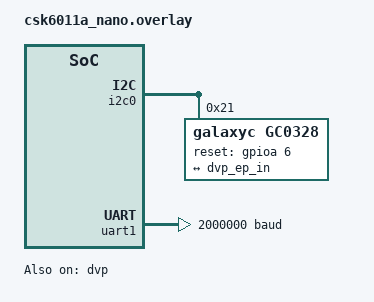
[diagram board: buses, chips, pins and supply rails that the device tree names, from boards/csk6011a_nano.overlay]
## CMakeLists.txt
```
# SPDX-License-Identifier: Apache-2.0

cmake_minimum_required(VERSION 3.20.0)

set(SUPPORT_BOARDS csk6012_nano csk6011a_nano csk6_duomotai_devkit)
if(NOT ${BOARD} IN_LIST SUPPORT_BOARDS)
    message("Please choose one of the following boards:")
    foreach(item ${SUPPORT_BOARDS})
        message(STATUS ${item})
    endforeach()
    message(FATAL_ERROR "\nThe project does not support the ${BOARD}")
endif()

find_package(Zephyr REQUIRED HINTS $ENV{ZEPHYR_BASE})
project(gc0328_dvp)

FILE(GLOB app_sources src/*.c)
target_sources(app PRIVATE ${app_sources})
```

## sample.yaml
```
sample:
  name: dvp_gc0328 Sample
tests:
  csk.samples.driver.video.gc0328:
    platform_allow: csk6011a_nano csk6_duomotai_devkit
    tags: csk6
    build_only: true
```

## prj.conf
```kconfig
# hardware settings
CONFIG_GPIO=y
CONFIG_I2C=y
CONFIG_VIDEO=y
CONFIG_VIDEO_CSK6_DVP=y
CONFIG_VIDEO_GC0328=y

#log settings
CONFIG_LOG=y
CONFIG_LOG_PRINTK=y

#buffer space settings
CONFIG_VIDEO_BUFFER_POOL_SZ_MAX=800000
CONFIG_VIDEO_CUSTOM_SECTION=y
CONFIG_VIDEO_CUSTOM_SECTION_NAME=".psram_section"
CONFIG_CSK6_PSRAM=y
```

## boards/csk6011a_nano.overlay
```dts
/*
 * Copyright (c) 2023 Anhui(Shenzhen) Listenai Co., Ltd.
 *
 * SPDX-License-Identifier: Apache-2.0
 */
/delete-node/ &psram_ap;
/delete-node/ &psram_share;

&psram0 {
	psram_ap: psram_ap@30600000 {
		compatible = "zephyr,memory-region","listenai,csk6-psram-partition";
		reg = <0x30600000 0x1b0000>;
		status = "okay";
		zephyr,memory-region = "PSRAMAP";


	};
	psram_share: psram_share@307b0000 {
		compatible = "listenai,csk6-psram-partition";
		reg = <0x307b0000 0x50000>;
		status = "okay";
	};
};

&csk6011a_nano_pinctrl {
	pinctrl_uart1_tx_default: uart1_tx_default{
		pinctrls = <UART1_TXD_GPIOA_10>;
	};

	pinctrl_i2c0_scl_default: i2c0_scl_default{
		pinctrls = <I2C0_SCL_GPIOB_04>;
	};

	pinctrl_i2c0_sda_default: i2c0_sda_default{
		pinctrls = <I2C0_SDA_GPIOB_03>;
	};

	pinctrl_dvp_clkout_default: dvp_clkout_default{
		pinctrls = <CLKP_OUT_GPIOA_07>;
	};

	pinctrl_dvp_vsync_default: dvp_vsync_default{
		pinctrls = <I_V_SYNC_GPIOA_14>;
	};

	pinctrl_dvp_hsync_default: dvp_hync_default{
		pinctrls = <I_H_SYNC_GPIOA_13>;
	};

	pinctrl_dvp_pclk_default: dvp_pclk_default{
		pinctrls = <I_PIXEL_CLK_GPIOA_12>;
	};

	pinctrl_dvp_d4_default: dvp_d4_default{
		pinctrls = <I_PIXEL_DATA4_GPIOA_04>;
	};

	pinctrl_dvp_d5_default: dvp_d5_default{
		pinctrls = <I_PIXEL_DATA5_GPIOA_05>;
	};

	pinctrl_dvp_d6_default: dvp_d6_default{
		pinctrls = <I_PIXEL_DATA6_GPIOA_06>;
	};

	pinctrl_dvp_d7_default: dvp_d7_default{
		pinctrls = <I_PIXEL_DATA7_GPIOB_07>;
	};


	pinctrl_dvp_d8_default: dvp_d8_default{
		pinctrls = <I_PIXEL_DATA8_GPIOB_08>;
	};


	pinctrl_dvp_d9_default: dvp_d9_default{
		pinctrls = <I_PIXEL_DATA9_GPIOB_09>;
	};


	pinctrl_dvp_d10_default: dvp_d10_default{
		pinctrls = <I_PIXEL_DATA10_GPIOA_08>;
	};


	pinctrl_dvp_d11_default: dvp_d11_default{
		pinctrls = <I_PIXEL_DATA11_GPIOA_09>;
	};
};

&spi0 {
	status = "disabled";
};

&spi1 {
	status = "disabled";
};

&i2c0 {
	status = "okay";
	pinctrl-0 = <&pinctrl_i2c0_scl_default &pinctrl_i2c0_sda_default>;
	pinctrl-names = "default";

	gc0328: gc0328@21 {
		compatible = "galaxyc,gc0328";
		status = "okay";
		reg = <0x21>;
		reset-gpios = <&gpioa 6 0>;

		port {
			gc0328_ep_out: endpoint {
				remote-endpoint = <&dvp_ep_in>;
			};
		};
	};

};

&uart1 {
	pinctrl-0 = <&pinctrl_uart1_tx_default>;
	pinctrl-names = "default";
	current-speed = <2000000>;
	status = "okay";
};

&dvp {
	status = "okay";
	sensor = <&gc0328>;
	clock-prescaler = <6>;
	data-align-type = "high_align";
	pclk-polarity = "post_edge_sampling";
	hsync-polarity = "active_high";
	vsync-polarity = "active_low";

	pinctrl-0 = <
	&pinctrl_dvp_clkout_default
	&pinctrl_dvp_vsync_default
	&pinctrl_dvp_hsync_default
	&pinctrl_dvp_pclk_default
	&pinctrl_dvp_d4_default
	&pinctrl_dvp_d5_default
	&pinctrl_dvp_d6_default
	&pinctrl_dvp_d7_default
	&pinctrl_dvp_d8_default
	&pinctrl_dvp_d9_default
	&pinctrl_dvp_d10_default
	&pinctrl_dvp_d11_default
	>;
	pinctrl-names = "default";

	port {
		dvp_ep_in: endpoint {
			remote-endpoint = <&gc0328_ep_out>;
		};
	};

};
```

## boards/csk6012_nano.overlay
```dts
/*
 * Copyright (c) 2023 Anhui(Shenzhen) Listenai Co., Ltd.
 *
 * SPDX-License-Identifier: Apache-2.0
 */
/delete-node/ &psram_ap;
/delete-node/ &psram_share;

&psram0 {
	psram_ap: psram_ap@30600000 {
		compatible = "zephyr,memory-region","listenai,csk6-psram-partition";
		reg = <0x30600000 0x1b0000>;
		status = "okay";
		zephyr,memory-region = "PSRAMAP";


	};
	psram_share: psram_share@307b0000 {
		compatible = "listenai,csk6-psram-partition";
		reg = <0x307b0000 0x50000>;
		status = "okay";
	};
};

&csk6012_nano_pinctrl {
	pinctrl_uart1_tx_default: uart1_tx_default{
		pinctrls = <UART1_TXD_GPIOA_12>;
	};

	pinctrl_i2c0_scl_default: i2c0_scl_default{
		pinctrls = <I2C0_SCL_GPIOB_04>;
	};

	pinctrl_i2c0_sda_default: i2c0_sda_default{
		pinctrls = <I2C0_SDA_GPIOB_03>;
	};

	pinctrl_dvp_clkout_default: dvp_clkout_default{
		pinctrls = <CLKP_OUT_GPIOA_07>;
	};

	pinctrl_dvp_vsync_default: dvp_vsync_default{
		pinctrls = <I_V_SYNC_GPIOA_14>;
	};

	pinctrl_dvp_hsync_default: dvp_hync_default{
		pinctrls = <I_H_SYNC_GPIOA_13>;
	};

	pinctrl_dvp_pclk_default: dvp_pclk_default{
		pinctrls = <I_PIXEL_CLK_GPIOA_12>;
	};

	pinctrl_dvp_d4_default: dvp_d4_default{
		pinctrls = <I_PIXEL_DATA4_GPIOA_04>;
	};

	pinctrl_dvp_d5_default: dvp_d5_default{
		pinctrls = <I_PIXEL_DATA5_GPIOA_05>;
	};

	pinctrl_dvp_d6_default: dvp_d6_default{
		pinctrls = <I_PIXEL_DATA6_GPIOA_06>;
	};

	pinctrl_dvp_d7_default: dvp_d7_default{
		pinctrls = <I_PIXEL_DATA7_GPIOB_07>;
	};


	pinctrl_dvp_d8_default: dvp_d8_default{
		pinctrls = <I_PIXEL_DATA8_GPIOB_08>;
	};


	pinctrl_dvp_d9_default: dvp_d9_default{
		pinctrls = <I_PIXEL_DATA9_GPIOB_09>;
	};


	pinctrl_dvp_d10_default: dvp_d10_default{
		pinctrls = <I_PIXEL_DATA10_GPIOA_08>;
	};


	pinctrl_dvp_d11_default: dvp_d11_default{
		pinctrls = <I_PIXEL_DATA11_GPIOA_09>;
	};
};

&spi0 {
	status = "disabled";
};

&spi1 {
	status = "disabled";
};

&i2c0 {
	status = "okay";
	pinctrl-0 = <&pinctrl_i2c0_scl_default &pinctrl_i2c0_sda_default>;
	pinctrl-names = "default";

	gc0328: gc0328@21 {
		compatible = "galaxyc,gc0328";
		status = "okay";
		label = "GC032A";
		reg = <0x21>;
		reset-gpios = <&gpioa 6 0>;

		port {
			gc0328_ep_out: endpoint {
				remote-endpoint = <&dvp_ep_in>;
			};
		};
	};

};

&uart1 {
	pinctrl-0 = <&pinctrl_uart1_tx_default>;
	pinctrl-names = "default";
	current-speed = <921600>;
	status = "okay";
};

&dvp {
	status = "okay";
	sensor = <&gc0328>;
	clock-prescaler = <6>;
	data-align-type = "high_align";
	pclk-polarity = "post_edge_sampling";
	hsync-polarity = "active_high";
	vsync-polarity = "active_low";

	pinctrl-0 = <
	&pinctrl_dvp_clkout_default
	&pinctrl_dvp_vsync_default
	&pinctrl_dvp_hsync_default
	&pinctrl_dvp_pclk_default
	&pinctrl_dvp_d4_default
	&pinctrl_dvp_d5_default
	&pinctrl_dvp_d6_default
	&pinctrl_dvp_d7_default
	&pinctrl_dvp_d8_default
	&pinctrl_dvp_d9_default
	&pinctrl_dvp_d10_default
	&pinctrl_dvp_d11_default
	>;
	pinctrl-names = "default";

	port {
		dvp_ep_in: endpoint {
			remote-endpoint = <&gc0328_ep_out>;
		};
	};

};
```

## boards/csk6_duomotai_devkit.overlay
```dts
/*
 * Copyright (c) 2023 Anhui(Shenzhen) Listenai Co., Ltd.
 *
 * SPDX-License-Identifier: Apache-2.0
 */
/delete-node/ &psram_ap;
/delete-node/ &psram_share;

&psram0 {
	psram_ap: psram_ap@30600000 {
		compatible = "zephyr,memory-region","listenai,csk6-psram-partition";
		reg = <0x30600000 0x700000>;
		status = "okay";
		zephyr,memory-region = "PSRAMAP";


	};
	psram_cp: psram_cp@30000000 {
		compatible = "listenai,csk6-psram-partition";
		reg = <0x30000000 0x100000>;
		status = "okay";
};
	psram_share: psram_share@307b0000 {
		compatible = "listenai,csk6-psram-partition";
		reg = <0x307b0000 0x50000>;
		status = "okay";
	};
};
```

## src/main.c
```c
/*
 * Copyright (c) 2023 Anhui(Shenzhen) Listenai Co., Ltd.
 *
 * SPDX-License-Identifier: Apache-2.0
 */
#include <zephyr/device.h>
#include <zephyr/drivers/video.h>
#include <drivers/csk6_video_extend.h>
#include <zephyr/kernel.h>

#define LOG_LEVEL CONFIG_LOG_DEFAULT_LEVEL
#include <zephyr/logging/log.h>
LOG_MODULE_REGISTER(main);

#define VBUF_NUM		2
#define IMAGE_HEIGHT		480/2
#define IMAGE_WIDTH		640/2
#define PIXEL_BYTES_SIZE	2
#define IMAGE_SIZE		(IMAGE_WIDTH * IMAGE_HEIGHT * PIXEL_BYTES_SIZE)

#define USE_SERIAL_PROTOCOL (1)

// #define WEBUSB_IMAGE_DOWNSAMPLING	(5) // 缩小倍数

#ifdef WEBUSB_IMAGE_DOWNSAMPLING

#define WEBUSB_IMAGE_SCALE 	(1.0f / WEBUSB_IMAGE_DOWNSAMPLING)
#define RESAMPLE_HEIGHT		(IMAGE_HEIGHT / WEBUSB_IMAGE_DOWNSAMPLING)
#define RESAMPLE_WIDTH		(IMAGE_HEIGHT / WEBUSB_IMAGE_DOWNSAMPLING)

static uint8_t resample_img[RESAMPLE_HEIGHT * RESAMPLE_WIDTH * 2] __attribute__((section(".psram_section")));

void downsample(unsigned char *input_image, unsigned char *output_image,
				uint32_t img_w, uint32_t img_h, uint8_t downsampling,
				uint8_t alg_type) {
	uint32_t new_w = img_w / downsampling;
	uint32_t new_h = img_h / downsampling;

	if (alg_type == 0) {
		// Nearest neighbor algorithm
		for (uint32_t y = 0; y < new_h; ++y) {
			for (uint32_t x = 0; x < new_w; ++x) {
				uint32_t input_idx = (y * downsampling * img_w + x * downsampling) * 2;
				uint32_t output_idx = (y * new_w + x) * 2;
				output_image[output_idx] = input_image[input_idx];     // V
				output_image[output_idx + 1] = input_image[input_idx + 1]; // Y
				output_image[output_idx + 2] = input_image[input_idx + 2]; // U
				output_image[output_idx + 3] = input_image[input_idx + 3]; // Y
			}
		}
	} else if (alg_type == 1) {
		// Averaging algorithm
		for (uint32_t y = 0; y < new_h; ++y) {
			for (uint32_t x = 0; x < new_w; ++x) {
				uint32_t output_idx = (y * new_w + x) * 2;
				uint32_t sum_v = 0, sum_y1 = 0, sum_u = 0, sum_y2 = 0;

				for (uint8_t dy = 0; dy < downsampling; ++dy) {
					for (uint8_t dx = 0; dx < downsampling; ++dx) {
					uint32_t input_idx = ((y * downsampling + dy) * img_w + x * downsampling + dx) * 2;

					sum_v += input_image[input_idx];
					sum_y1 += input_image[input_idx + 1];
					sum_u += input_image[input_idx + 2];
					sum_y2 += input_image[input_idx + 3];
					}
				}

				output_image[output_idx] = sum_v / (downsampling * downsampling);
				output_image[output_idx + 1] = sum_y1 / (downsampling * downsampling);
				output_image[output_idx + 2] = sum_u / (downsampling * downsampling);
				output_image[output_idx + 3] = sum_y2 / (downsampling * downsampling);
			}
		}
	} else if (alg_type == 2) {

		// 2 bytes per pixel.
		int pos = 0;
		// Process every other line.
		for (int pixelY = 0; pixelY < img_h; pixelY += downsampling) { 
			// Work in blocks of 2 pixels, we discard the second.
			for (int pixelX = 0; pixelX < img_w; pixelX += 2 * downsampling) {
				// Position of pixel bytes.
				int start = ((pixelY * img_w) + pixelX) * 2;

				output_image[pos] = input_image[start];
				output_image[pos + 1] = input_image[start + 1];
				output_image[pos + 2] = input_image[start + 2];
				output_image[pos + 3] = input_image[start + 3];

				pos += 4;
			}
		}
	}
}

#endif

const struct device *video;

extern int frame_send(uint8_t *frameBuf, uint16_t width, uint16_t height, uint8_t mode);

int calculate_fps(struct video_buffer *vbuf)
{
	static uint32_t last_timestamp = 0;
	int fps;

	fps = vbuf->timestamp - last_timestamp ? 1000 / (vbuf->timestamp - last_timestamp) : 0;

	last_timestamp = vbuf->timestamp;

	return fps;
}
static K_SEM_DEFINE(m_sem_wait_result, 0, 1);
int main(void)
{
	struct video_buffer *buffers[VBUF_NUM], *vbuf;
	struct video_format fmt;
	struct video_caps caps;
	unsigned int frame = 0;
	size_t bsize;
	int i = 0;

	video = DEVICE_DT_GET(DT_NODELABEL(dvp));

	if (video == NULL) {
		LOG_ERR("Video device %s not found, "
			"fallback to software generator.",
			"dvp");

		return 0;
	}

	printk("- Device name: %s\n", "dvp");

	// /* Get capabilities */
	if (video_get_caps(video, VIDEO_EP_OUT, &caps)) {
		LOG_ERR("Unable to retrieve video capabilities");
		return 0;
	}

	printk("- Capabilities:\n");
	while (caps.format_caps[i].pixelformat) {
		const struct video_format_cap *fcap = &caps.format_caps[i];
		/* fourcc to string */
		printk("  %c%c%c%c width [%u; %u; %u] height [%u; %u; %u]\n",
		       (char)fcap->pixelformat, (char)(fcap->pixelformat >> 8),
		       (char)(fcap->pixelformat >> 16), (char)(fcap->pixelformat >> 24),
		       fcap->width_min, fcap->width_max, fcap->width_step, fcap->height_min,
		       fcap->height_max, fcap->height_step);
		i++;
	}

	fmt.pixelformat = VIDEO_PIX_FMT_VYUY;
	fmt.width = IMAGE_WIDTH;
	fmt.height = IMAGE_HEIGHT;
	fmt.pitch = fmt.width * PIXEL_BYTES_SIZE;
	if (video_set_format(video, VIDEO_EP_OUT, &fmt)) {
		LOG_ERR("Unable to set video format");
		return 0;
	}

	/* Size to allocate for each buffer */
	bsize = fmt.height * fmt.pitch;

	/* Alloc video buffers and enqueue for capture */
	for (i = 0; i < ARRAY_SIZE(buffers); i++) {
		LOG_INF("Alloc vide buffer: %d\n", bsize);
		buffers[i] = video_buffer_alloc(bsize);
		if (buffers[i] == NULL) {
			LOG_ERR("Unable to alloc video buffer");
			return 0;
		}

		video_enqueue(video, VIDEO_EP_OUT, buffers[i]);
	}

	/* Start video capture */
	if (video_stream_start(video)) {
		LOG_ERR("Unable to start capture (interface)");
		return 0;
	}

	/* Grab video frames */
	while (1) {
		int err;
		int ret = k_sem_take(&m_sem_wait_result, K_FOREVER);
		if(ret != 0){
			LOG_ERR("k_sem_take m_sem_wait_result failed: %d", ret);
		}
        printk("vbuf->buffer: %p  line :%d\n", vbuf->buffer, __LINE__);
		// err = video_dequeue(video, VIDEO_EP_OUT, &vbuf, K_FOREVER);
		// if (err) {
		// 	LOG_ERR("Unable to dequeue video buf");
		// 	return 0;
		// }
		// // k_msleep(1500);
		// err = video_enqueue(video, VIDEO_EP_OUT, vbuf);
		if (err) {
			LOG_ERR("Unable to requeue video buf");
			return 0;
		}
	}
}
int comp_fd_capture(void)
{
	struct video_buffer *vbuf;
	video_stream_stop(video);

	while (video_dequeue(video, VIDEO_EP_OUT, &vbuf, K_NO_WAIT) == 0) {
		printk("vbuf->buffer: %p  line :%d\n", vbuf->buffer, __LINE__);
		video_enqueue(video, VIDEO_EP_OUT, vbuf);
	}
	k_msleep(10);
	video_stream_start(video);
    k_sem_give(&m_sem_wait_result);
	return 0;

}


void test(void *p1, void *p2, void *p3)
{
    k_msleep(3000);

	while (1) {
        comp_fd_capture();
		k_sleep(K_MSEC(1000));
	}
}

K_THREAD_DEFINE(test_id, 1024*1, test, NULL, NULL, NULL,
		6 + 1, 0, 0);
```

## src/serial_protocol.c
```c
/*
 * Copyright (c) 2023 Anhui(Shenzhen) Listenai Co., Ltd.
 *
 * SPDX-License-Identifier: Apache-2.0
 */
#include <stdio.h>
#include <string.h>

#include <zephyr/device.h>
#include <zephyr/drivers/uart.h>
#include <zephyr/kernel.h>

#define UART0		 DT_NODELABEL(uart1)
#define MAX_TX_FRAME_LEN (32 * 1024)
#define UART_TX_BLOCK	 (MAX_TX_FRAME_LEN >> 1)

const struct device *uart_dev;
uint8_t txBuf[UART_TX_BLOCK + 1]; // append 1 byte checksum
uint8_t txFrame[MAX_TX_FRAME_LEN +
		4]; // tx frame buffer + header & ender & checksum w/ or w/o encoded bytes

uint32_t rfc1662Encode(uint8_t *buf, uint32_t bufLen, uint8_t *pData, uint32_t dataLen);

static uint8_t calc_checksum(uint8_t *pData, int len)
{
	uint8_t checksum = 0;
	for (int i = 0; i < len; i++) {
		checksum += pData[i];
	}
	return checksum;
}

int serial_transmit(uint8_t *buf, int len)
{
	static uint8_t first = 1;
	if (first) {
		uart_dev = DEVICE_DT_GET(UART0);
		if (!device_is_ready(uart_dev)) {
			printk("device:%s is not ready!", uart_dev->name);
			return -1;
		}
		first = 0;
	}

	if (uart_dev) {
		for (uint32_t i = 0; i < len; i++) {
			uart_poll_out(uart_dev, buf[i]);
		}
	}
	return 0;
}

int frame_send(uint8_t *frameBuf, uint16_t width, uint16_t height, uint8_t mode)
{
	int txLen;

	txLen = width * height;// * 2;

	int txPos = 0;
	while (txLen > UART_TX_BLOCK) {
		memcpy(txBuf, &frameBuf[txPos], UART_TX_BLOCK);
		txBuf[UART_TX_BLOCK] = calc_checksum(txBuf, UART_TX_BLOCK);
		uint32_t encLen = rfc1662Encode(txFrame, sizeof(txFrame), (uint8_t *)txBuf,
						UART_TX_BLOCK + 1);
		if (encLen == 0) {
			while (1)
				;
		}
		serial_transmit(txFrame, encLen);

		txPos += UART_TX_BLOCK;
		txLen -= UART_TX_BLOCK;
	}
	if (txLen > 0) {
		memcpy(txBuf, &frameBuf[txPos], txLen);
		txBuf[txLen] = calc_checksum(txBuf, txLen);
		uint32_t encLen =
			rfc1662Encode(txFrame, sizeof(txFrame), (uint8_t *)&txBuf, txLen + 1);
		if (encLen == 0) {
			while (1)
				;
		}
		serial_transmit(txFrame, encLen);
	}
	txFrame[0] = 0x7E;
	txFrame[1] = 0x00;
	txFrame[2] = 0x7E;
	// indication of frame dimension
	serial_transmit(txFrame, 3);

	txBuf[0] = width % 256;
	txBuf[1] = width / 256;
	txBuf[2] = height % 256;
	txBuf[3] = height / 256;
	txBuf[4] = mode;
	txBuf[5] = 0;
	txBuf[6] = calc_checksum(txBuf, 6);
	uint32_t encLen = rfc1662Encode(txFrame, sizeof(txFrame), (uint8_t *)&txBuf, 7);
	// indication of frame dimension
	serial_transmit(txFrame, encLen);

	txFrame[0] = 0x7E;
	txFrame[1] = 0x01;
	txFrame[2] = 0x7E;
	// indication of end of frame
	serial_transmit(txFrame, 3);

	return 0;
}

#define RFC1662_FLAG   (0x7E)
#define RFC1662_ESCAPE (0x7D)

uint32_t rfc1662Encode(uint8_t *buf, uint32_t bufLen, uint8_t *pData, uint32_t dataLen)
{
	uint32_t encLen = 0;

	// Add start flag
	// (bufLen checks at each insert return error on overflow.)
	if (bufLen <= encLen)
		goto error;
	buf[encLen++] = RFC1662_FLAG;

	// Copy pData to buf, escaping flags and escape chars in content
	for (uint32_t n = 0; n < dataLen; n++) {
		// If next byte needs to be escaped...
		if ((pData[n] == RFC1662_FLAG) || (pData[n] == RFC1662_ESCAPE)) {
			// If overflowed, return error
			if (bufLen <= encLen - 1)
				goto error;

			// Add escaped data to buffer
			buf[encLen++] = RFC1662_ESCAPE;
			buf[encLen++] = pData[n] ^ 0x20;
		} else {
			// If overflowed, return error
			if (bufLen <= encLen)
				goto error;

			// Add data to buffer
			buf[encLen++] = pData[n];
		}
	}

	// Add stop flag
	if (bufLen <= encLen)
		goto error;
	buf[encLen++] = RFC1662_FLAG;

	// return the length of data in the buffer
	return encLen;

	// On error, return 0
error:
	return 0;
}
```
